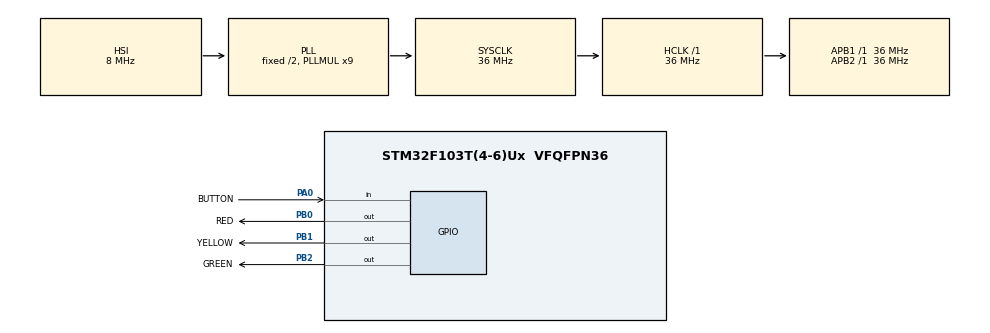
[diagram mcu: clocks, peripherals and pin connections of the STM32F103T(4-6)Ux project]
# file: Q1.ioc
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Mcu.Family=STM32F1
Mcu.Name=STM32F103T(4-6)Ux
Mcu.Package=VFQFPN36
NVIC.PriorityGroup=NVIC_PRIORITYGROUP_4
PA0-WKUP.GPIO_Label=BUTTON
PA0-WKUP.GPIO_PuPd=GPIO_PULLUP
PA0-WKUP.Signal=GPIO_Input
PB0.GPIO_Label=RED
PB0.Signal=GPIO_Output
PB1.GPIO_Label=YELLOW
PB1.Signal=GPIO_Output
PB2.GPIO_Label=GREEN
PB2.Signal=GPIO_Output
ProjectManager.HeapSize=0x200
ProjectManager.StackSize=0x400
ProjectManager.TargetToolchain=STM32CubeIDE
RCC.AHBFreq_Value=36000000
RCC.APB1Freq_Value=36000000
RCC.APB1TimFreq_Value=36000000
RCC.APB2Freq_Value=36000000
RCC.APB2TimFreq_Value=36000000
RCC.HCLKFreq_Value=36000000
RCC.PLLMUL=RCC_PLL_MUL9
RCC.SYSCLKFreq_VALUE=36000000
RCC.SYSCLKSource=RCC_SYSCLKSOURCE_PLLCLK
RCC.USBFreq_Value=36000000
board=custom

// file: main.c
/* USER CODE BEGIN Header */
/**
  ******************************************************************************
  * @file           : main.c
  * @brief          : Main program body
  ******************************************************************************
  * @attention
  *
  * Copyright (c) 2025 STMicroelectronics.
  * All rights reserved.
  *
  * This software is licensed under terms that can be found in the LICENSE file
  * in the root directory of this software component.
  * If no LICENSE file comes with this software, it is provided AS-IS.
  *
  ******************************************************************************
  */
/* USER CODE END Header */
#include "main.h"

/* USER CODE BEGIN PV */
uint8_t state = 0;
uint8_t lastButtonState = 1;
/* USER CODE END PV */

void SystemClock_Config(void);
static void MX_GPIO_Init(void);
/* USER CODE BEGIN PFP */
void setTrafficLight(uint8_t state);
/* USER CODE END PFP */

/* USER CODE BEGIN 0 */
void setTrafficLight(uint8_t state) {
  // خاموش کردن همه LEDها
  HAL_GPIO_WritePin(RED_GPIO_Port, RED_Pin, GPIO_PIN_RESET);
  HAL_GPIO_WritePin(YELLOW_GPIO_Port, YELLOW_Pin, GPIO_PIN_RESET);
  HAL_GPIO_WritePin(GREEN_GPIO_Port, GREEN_Pin, GPIO_PIN_RESET);

  // روشن کردن یکی از LEDها
  switch (state) {
    case 0:
      HAL_GPIO_WritePin(RED_GPIO_Port, RED_Pin, GPIO_PIN_SET);
      break;
    case 1:
      HAL_GPIO_WritePin(YELLOW_GPIO_Port, YELLOW_Pin, GPIO_PIN_SET);
      break;
    case 2:
      HAL_GPIO_WritePin(GREEN_GPIO_Port, GREEN_Pin, GPIO_PIN_SET);
      break;
  }
}
/* USER CODE END 0 */

int main(void)
{

  /* MCU Configuration--------------------------------------------------------*/

  HAL_Init();
  SystemClock_Config();
  MX_GPIO_Init();

  /* USER CODE BEGIN 2 */
  setTrafficLight(state);  // وضعیت اولیه
  /* USER CODE END 2 */

  /* Infinite loop */
  /* USER CODE BEGIN WHILE */
  while (1)
  {
    uint8_t buttonState = HAL_GPIO_ReadPin(BUTTON_GPIO_Port, BUTTON_Pin);

    // لبه پایین‌رونده (دکمه فشرده شده)
    if (lastButtonState == 1 && buttonState == 0) {
      HAL_Delay(50);  // دیبانس
      if (HAL_GPIO_ReadPin(BUTTON_GPIO_Port, BUTTON_Pin) == 0) {
        state = (state + 1) % 3;  // چرخش بین 0 تا 2
        setTrafficLight(state);

        // صبر تا رها شدن دکمه
        while (HAL_GPIO_ReadPin(BUTTON_GPIO_Port, BUTTON_Pin) == 0);
      }
    }

    lastButtonState = buttonState;
    /* USER CODE END WHILE */

  }
}

void SystemClock_Config(void)
{
  RCC_OscInitTypeDef RCC_OscInitStruct = {0};
  RCC_ClkInitTypeDef RCC_ClkInitStruct = {0};

  /** Initializes the RCC Oscillators according to the specified parameters
  * in the RCC_OscInitTypeDef structure.
  */
  RCC_OscInitStruct.OscillatorType = RCC_OSCILLATORTYPE_HSI;
  RCC_OscInitStruct.HSIState = RCC_HSI_ON;
  RCC_OscInitStruct.HSICalibrationValue = RCC_HSICALIBRATION_DEFAULT;
  RCC_OscInitStruct.PLL.PLLState = RCC_PLL_ON;
  RCC_OscInitStruct.PLL.PLLSource = RCC_PLLSOURCE_HSI_DIV2;
  RCC_OscInitStruct.PLL.PLLMUL = RCC_PLL_MUL9;
  if (HAL_RCC_OscConfig(&RCC_OscInitStruct) != HAL_OK)
  {
    Error_Handler();
  }

  /** Initializes the CPU, AHB and APB buses clocks
  */
  RCC_ClkInitStruct.ClockType = RCC_CLOCKTYPE_HCLK|RCC_CLOCKTYPE_SYSCLK
                              |RCC_CLOCKTYPE_PCLK1|RCC_CLOCKTYPE_PCLK2;
  RCC_ClkInitStruct.SYSCLKSource = RCC_SYSCLKSOURCE_PLLCLK;
  RCC_ClkInitStruct.AHBCLKDivider = RCC_SYSCLK_DIV1;
  RCC_ClkInitStruct.APB1CLKDivider = RCC_HCLK_DIV1;
  RCC_ClkInitStruct.APB2CLKDivider = RCC_HCLK_DIV1;

  if (HAL_RCC_ClockConfig(&RCC_ClkInitStruct, FLASH_LATENCY_1) != HAL_OK)
  {
    Error_Handler();
  }
}

static void MX_GPIO_Init(void)
{
  GPIO_InitTypeDef GPIO_InitStruct = {0};

  /* GPIO Ports Clock Enable */
  __HAL_RCC_GPIOA_CLK_ENABLE();
  __HAL_RCC_GPIOB_CLK_ENABLE();

  /*Configure GPIO pin Output Level */
  HAL_GPIO_WritePin(GPIOB, RED_Pin|YELLOW_Pin|GREEN_Pin, GPIO_PIN_RESET);

  /*Configure GPIO pin : BUTTON_Pin */
  GPIO_InitStruct.Pin = BUTTON_Pin;
  GPIO_InitStruct.Mode = GPIO_MODE_INPUT;
  GPIO_InitStruct.Pull = GPIO_PULLUP;
  HAL_GPIO_Init(BUTTON_GPIO_Port, &GPIO_InitStruct);

  /*Configure GPIO pins : RED_Pin YELLOW_Pin GREEN_Pin */
  GPIO_InitStruct.Pin = RED_Pin|YELLOW_Pin|GREEN_Pin;
  GPIO_InitStruct.Mode = GPIO_MODE_OUTPUT_PP;
  GPIO_InitStruct.Pull = GPIO_NOPULL;
  GPIO_InitStruct.Speed = GPIO_SPEED_FREQ_LOW;
  HAL_GPIO_Init(GPIOB, &GPIO_InitStruct);

}

void Error_Handler(void)
{
  __disable_irq();
  while (1)
  {
  }
}
